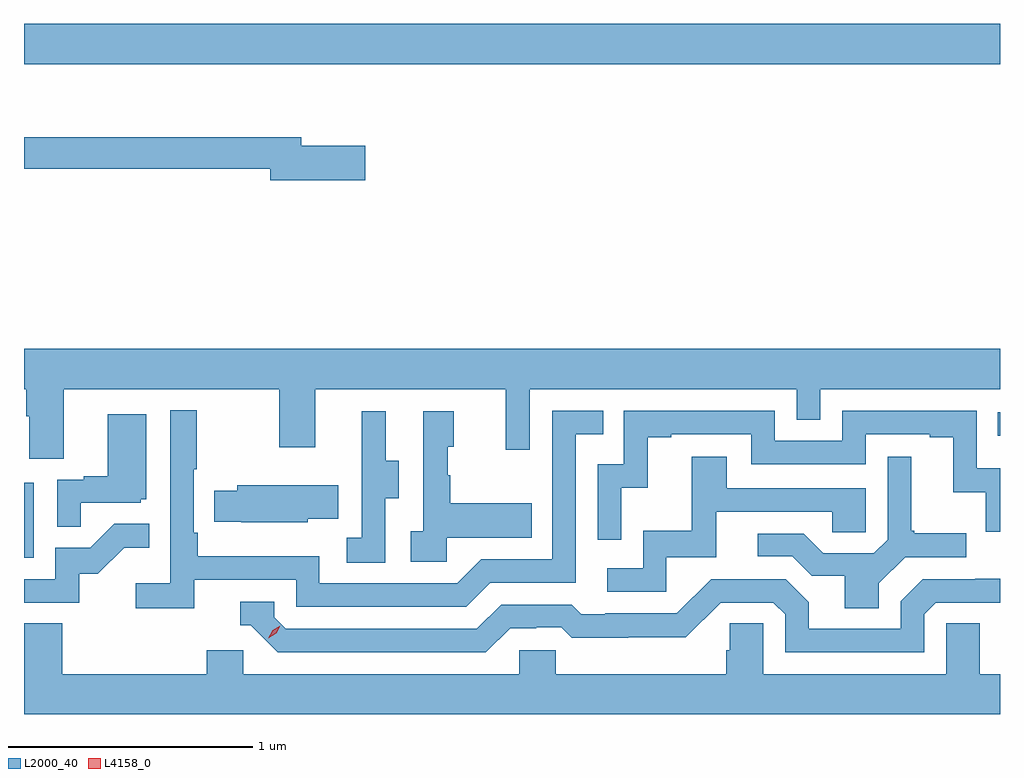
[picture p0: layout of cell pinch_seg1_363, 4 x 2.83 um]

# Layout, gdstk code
import gdstk
lib = gdstk.Library(unit=1e-6, precision=1e-09)
def R(c, l, rs):  # rectangles x0, y0, x1, y1
    for r in rs: c.add(gdstk.rectangle(r[:2], r[2:], *l))
def P(c, l, *ps):  # polygons
    for p in ps: c.add(gdstk.Polygon(p, *l))
L2000_40 = (2000, 40)
L4158_0 = (4158, 0)

pinch_seg1_363 = lib.new_cell('pinch_seg1_363')
R(pinch_seg1_363, L2000_40, [(956.875,531.06,956.914,531.367), (960.865,531.56,960.875,531.657), (956.875,533.084,960.875,533.248)])
P(pinch_seg1_363, L2000_40, [(958.273,532.749),(958.012,532.749),(958.012,532.783),(956.875,532.783),(956.875,532.654),(957.884,532.654),(957.884,532.607),(958.273,532.607)],
  [(957.037,531.752),(957.922,531.752),(957.922,531.513),(958.069,531.513),(958.069,531.752),(958.85,531.752),(958.85,531.504),(958.947,531.504),(958.947,531.752),(960.042,531.752),(960.042,531.625),(960.138,531.625),(960.138,531.752),(960.875,531.752),(960.875,531.916),(956.875,531.916),(956.875,531.752),(956.885,531.752),(956.885,531.64),(956.897,531.64),(956.897,531.466),(957.037,531.466)],
  [(957.572,530.97),(957.99,530.97),(957.99,530.859),(958.687,530.859),(958.786,530.958),(959.136,530.958),(959.136,531.567),(959.249,531.567),(959.249,531.663),(959.04,531.663),(959.04,531.054),(958.749,531.054),(958.65,530.955),(958.086,530.955),(958.086,531.067),(957.587,531.067),(957.587,531.163),(957.57,531.163),(957.57,531.424),(957.583,531.424),(957.583,531.664),(957.474,531.664),(957.474,530.956),(957.333,530.956),(957.333,530.854),(957.572,530.854)],
  [(959.322,531.347),(959.432,531.347),(959.432,531.555),(959.527,531.555),(959.527,531.567),(959.856,531.567),(959.856,531.444),(960.324,531.444),(960.324,531.567),(960.587,531.567),(960.587,531.555),(960.683,531.555),(960.683,531.329),(960.816,531.329),(960.816,531.168),(960.875,531.168),(960.875,531.427),(960.78,531.427),(960.78,531.663),(960.228,531.663),(960.228,531.54),(959.952,531.54),(959.952,531.663),(959.334,531.663),(959.334,531.444),(959.226,531.444),(959.226,531.135),(959.322,531.135)],
  [(958.356,531.304),(958.411,531.304),(958.411,531.459),(958.357,531.459),(958.357,531.661),(958.259,531.661),(958.259,531.447),(958.26,531.447),(958.26,531.143),(958.197,531.143),(958.197,531.04),(958.356,531.04)],
  [(958.608,531.143),(958.955,531.143),(958.955,531.283),(958.621,531.283),(958.621,531.398),(958.611,531.398),(958.611,531.516),(958.636,531.516),(958.636,531.661),(958.512,531.661),(958.512,531.17),(958.461,531.17),(958.461,531.045),(958.608,531.045)],
  [(957.107,531.285),(957.354,531.285),(957.354,531.3),(957.376,531.3),(957.376,531.649),(957.218,531.649),(957.218,531.394),(957.119,531.394),(957.119,531.381),(957.012,531.381),(957.012,531.187),(957.107,531.187)],
  [(960.379,530.956),(960.486,531.063),(960.736,531.063),(960.736,531.16),(960.523,531.16),(960.523,531.172),(960.511,531.172),(960.511,531.475),(960.414,531.475),(960.414,531.135),(960.357,531.078),(960.151,531.078),(960.07,531.159),(959.883,531.159),(959.883,531.066),(960.024,531.066),(960.104,530.986),(960.239,530.986),(960.239,530.854),(960.379,530.854)],
  [(959.508,531.063),(959.713,531.063),(959.713,531.249),(960.187,531.249),(960.187,531.165),(960.324,531.165),(960.324,531.345),(959.755,531.345),(959.755,531.475),(959.611,531.475),(959.611,531.172),(959.412,531.172),(959.412,531.018),(959.265,531.018),(959.265,530.922),(959.508,530.922)],
  [(958.038,531.221),(958.163,531.221),(958.163,531.358),(957.749,531.358),(957.749,531.336),(957.655,531.336),(957.655,531.207),(957.766,531.207),(957.766,531.206),(958.038,531.206)],
  [(957.102,530.994),(957.178,530.994),(957.285,531.101),(957.389,531.101),(957.389,531.2),(957.245,531.2),(957.147,531.102),(957.003,531.102),(957.003,530.973),(956.875,530.973),(956.875,530.877),(957.102,530.877)],
  [(958.867,530.772),(958.974,530.772),(958.974,530.775),(959.077,530.775),(959.119,530.733),(959.352,530.733),(959.352,530.735),(959.588,530.735),(959.73,530.877),(959.946,530.877),(959.994,530.829),(959.994,530.673),(960.564,530.673),(960.564,530.829),(960.612,530.877),(960.875,530.877),(960.875,530.975),(960.774,530.975),(960.774,530.973),(960.558,530.973),(960.468,530.883),(960.468,530.769),(960.091,530.769),(960.091,530.879),(959.997,530.973),(959.691,530.973),(959.55,530.832),(959.257,530.832),(959.257,530.829),(959.158,530.829),(959.119,530.868),(958.83,530.868),(958.731,530.769),(957.948,530.769),(957.9,530.817),(957.9,530.88),(957.761,530.88),(957.761,530.784),(957.804,530.784),(957.915,530.673),(958.768,530.673)],
  [(960.875,530.584),(960.793,530.584),(960.793,530.792),(960.654,530.792),(960.654,530.584),(959.904,530.584),(959.904,530.792),(959.767,530.792),(959.767,530.682),(959.753,530.682),(959.753,530.584),(959.055,530.584),(959.055,530.682),(958.905,530.682),(958.905,530.584),(957.774,530.584),(957.774,530.682),(957.623,530.682),(957.623,530.584),(957.032,530.584),(957.032,530.792),(956.875,530.792),(956.875,530.42),(960.875,530.42)])
P(pinch_seg1_363, L4158_0, [(957.877,530.731),(957.877,530.731),(957.894,530.763),(957.925,530.782),(957.925,530.782),(957.925,530.782),(957.908,530.75),(957.877,530.731)])

lib.write_gds('pinch_seg1_363.gds')
